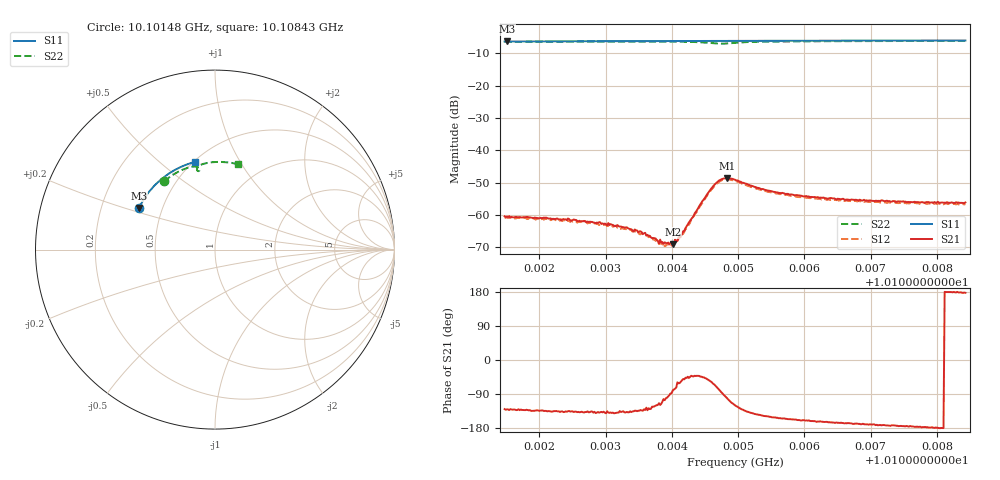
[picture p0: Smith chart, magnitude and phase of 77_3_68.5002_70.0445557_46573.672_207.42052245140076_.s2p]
#  HZ  S  RI  R  50.00
! Rohde & Schwarz Vector Network Analyzer
! Rohde-Schwarz,ZNB20-2Port,1311601062101988,3.16
! Created: UTC 3/20/2024, 5:07:09 PM
! freq[Hz]  re:S11  im:S11  re:S21  im:S21  re:S12  im:S12  re:S22  im:S22
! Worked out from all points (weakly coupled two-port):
!   401 points, 10.10148 GHz to 10.10843 GHz, reference 50 ohm
!   highest |S21| = -48.61 dB at 10.10483 GHz (marker M1); lowest = -69.2 dB at 10.10401 GHz (marker M2)
!   lowest |S11| = -6.3 dB at 10.10151 GHz (marker M3), VSWR 2.87, Z = 18.4 + j11.1 ohm
!   |S11| at or under -10 dB: nowhere
!   |S22| runs from -7.0 to -6.1 dB; largest |S21 - S12| = 0.00039
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1.0101475e10  -0.4253 0.2296  -0.000605 -0.000731  -0.000544 -0.000708  -0.2829 0.3822
1.010151e10  -0.4242 0.2313  -0.000606 -0.000722  -0.000539 -0.000733  -0.2812 0.3838
1.0102084e10  -0.4082 0.2624  -0.000629 -0.000645  -0.00056 -0.000657  -0.2512 0.4059
1.010264e10  -0.3901 0.2911  -0.000578 -0.000549  -0.000524 -0.000579  -0.2203 0.4253
1.0103127e10  -0.373 0.3153  -0.000524 -0.00043  -0.000464 -0.000478  -0.1916 0.4403
1.0103301e10  -0.3665 0.3235  -0.000477 -0.000421  -0.000414 -0.000435  -0.1808 0.4451
1.0103562e10  -0.3563 0.3357  -0.000352 -0.000367  -0.000303 -0.000398  -0.1642 0.4518
1.0103805e10  -0.3466 0.3467  -0.000145 -0.000325  -0.000128 -0.000335  -0.1477 0.4572
1.0103927e10  -0.3415 0.3522  -5.94e-05 -0.000357  -7.98e-06 -0.000351  -0.139 0.4598
1.0104014e10  -0.3379 0.3561  5.94e-05 -0.000343  8.96e-05 -0.000357  -0.1325 0.461
1.0104049e10  -0.3364 0.3576  0.000103 -0.000403  0.000129 -0.000339  -0.1298 0.4616
1.0104153e10  -0.3321 0.3621  0.000299 -0.000404  0.000322 -0.00037  -0.1215 0.4628
1.0104431e10  -0.3199 0.3738  0.00105 -0.00101  0.00111 -0.000847  -0.0971 0.4596
1.0104605e10  -0.312 0.3807  0.00135 -0.00226  0.00146 -0.00205  -0.086 0.4476
1.0104727e10  -0.3065 0.3856  0.000539 -0.00341  0.000834 -0.00321  -0.0896 0.438
1.0104831e10  -0.3018 0.3897  -0.000669 -0.00365  -0.000367 -0.00355  -0.0979 0.4394
1.0104953e10  -0.2962 0.3943  -0.00171 -0.00304  -0.00139 -0.00306  -0.1005 0.45
1.010544e10  -0.273 0.4125  -0.00205 -0.00123  -0.00184 -0.00136  -0.0698 0.4759
1.0105909e10  -0.2494 0.4286  -0.00187 -0.000736  -0.00168 -0.000857  -0.0367 0.4842
1.0106118e10  -0.2387 0.4351  -0.00178 -0.000613  -0.00168 -0.000742  -0.0224 0.4861
1.0107283e10  -0.1756 0.4668  -0.00163 -0.00019  -0.00152 -0.000344  0.0543 0.4874
1.0108431e10  -0.11 0.4887  -0.00155 7.23e-05  -0.00146 -0.000101  0.1272 0.4763
